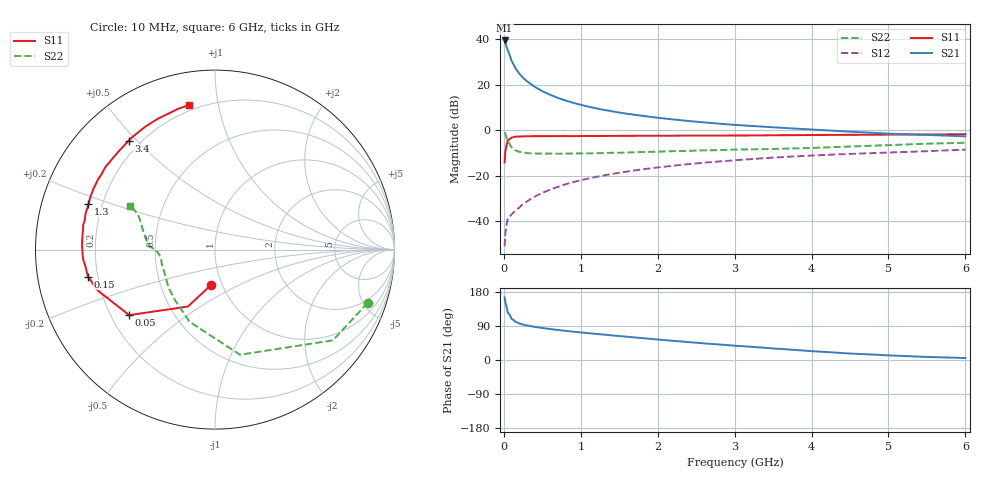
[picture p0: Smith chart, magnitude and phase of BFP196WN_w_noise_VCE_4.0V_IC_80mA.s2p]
! Infineon Technologies  Discrete & RF Semiconductors
! BFP196WN
! VCE =  4.0 V,  IC =  80 mA
! Common Emitter S-Parameters:  Jan 2017
# GHz  S  MA  R  50
!  f  S11  S21  S12  S22
! GHz  MAG  ANG  MAG  ANG  MAG  ANG  MAG  ANG
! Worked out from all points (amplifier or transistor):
!   77 points, 10 MHz to 6 GHz, reference 50 ohm
!   highest |S21| = 39.6 dB at 10 MHz (marker M1)
!   |S21| within 3 dB of that: start of sweep to 37.88 MHz
!   unconditionally stable (mu >= 1): 508.5 MHz to 2.704 GHz
!   at 130 MHz: K = 0.68, MSG = 32.4 dB, |S12| = -36.1 dB
!   at 2.2 GHz: K = 1.02, MAG = 9.4 dB, |S12| = -15.6 dB
!   at 6 GHz: K = 0.92, MSG = 2.9 dB, |S12| = -8.5 dB
!   lowest NFmin = 1.58 dB at 450 MHz
!   S11 on the Smith chart (normalised r, x): 10 MHz: 0.89, -0.36; 50 MHz: 0.28, -0.32; 150 MHz: 0.16, -0.10; 1.3 GHz: 0.15, +0.17; 3.4 GHz: 0.16, +0.47; 6 GHz: 0.17, +0.82
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0.01  0.1969 -96.1  95.23 165.4  0.0028 77.3  0.9012 -19.2
0.02  0.3511 -115.4  84.99 151.3  0.0054 69.2  0.8287 -37.6
0.05  0.6013 -142.6  58.38 125.5  0.011 53.1  0.6022 -76.6
0.1  0.6906 -160.6  33.83 108.6  0.014 54.0  0.426 -109.5
0.15  0.7238 -168.0  23.49 101.1  0.0169 54.7  0.3608 -127.6
0.2  0.7279 -172.5  17.82 96.7  0.0197 60.4  0.3373 -138.7
0.25  0.7358 -175.5  14.34 93.5  0.024 63.7  0.3238 -145.6
0.3  0.738 -177.8  12.02 91.2  0.0271 64.6  0.314 -151.4
0.4  0.7405 178.6  9.071 87.3  0.0344 68.5  0.3081 -158.0
0.5  0.7421 175.8  7.263 84.4  0.0417 69.1  0.3072 -162.6
0.6  0.7426 173.4  6.067 81.7  0.0493 70.4  0.3068 -166.0
0.7  0.7437 171.4  5.191 79.4  0.0564 71.4  0.3048 -168.4
0.9  0.7436 167.2  4.036 74.8  0.072 71.2  0.3082 -171.6
1.1  0.7488 163.8  3.319 70.8  0.0866 70.6  0.3109 -174.3
1.3  0.7497 160.2  2.819 67.1  0.1012 69.6  0.3155 -175.6
1.6  0.7548 155.5  2.318 61.4  0.1233 67.7  0.323 -178.1
2.1  0.7594 147.7  1.811 52.4  0.1587 63.8  0.3425 179.2
3.1  0.7679 132.8  1.285 36.5  0.2247 55.0  0.3778 174.5
3.4  0.7741 128.5  1.193 32.1  0.2438 52.5  0.3849 172.5
4.1  0.7881 118.6  1.017 22.2  0.2824 46.2  0.4142 165.2
5.1  0.8028 107.9  0.832 11.4  0.3279 38.4  0.4779 155.1
6  0.8188 100.1  0.735 5.2  0.3745 32.3  0.5303 153.0
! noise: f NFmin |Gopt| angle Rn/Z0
0.45  1.58  0.58  -175  0.05
0.9  1.71  0.59  -168  0.07
1.9  2.67  0.7  -146  0.21
2.4  3.48  0.71  -138  0.35
